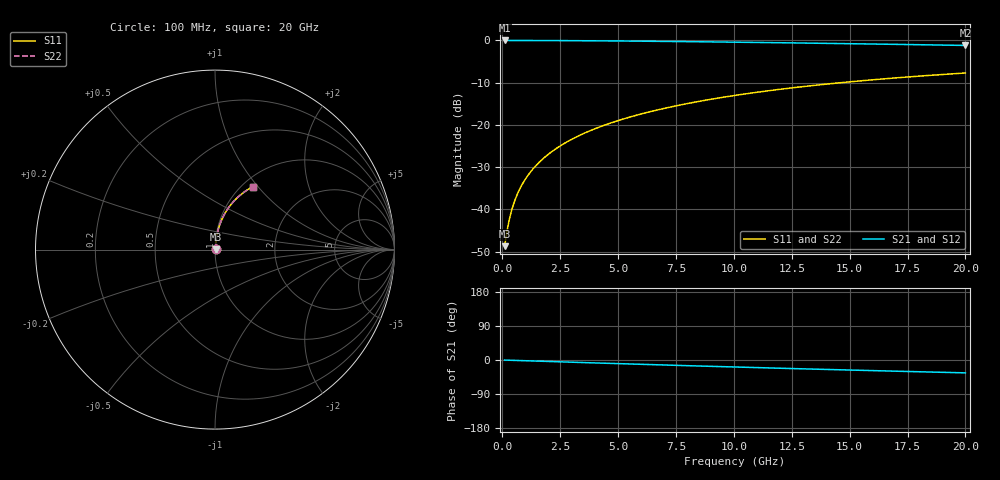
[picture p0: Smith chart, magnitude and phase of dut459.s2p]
! Touchstone file exported from HFSS 2024.1.0
!  File:  C:/UserFiles/LocalFiles/RDL_TSV_Batchsim/temp_RDL_bottom_459_1779685444.aedt
!  Generated:  01:06:43 PM May 25, 2026
!  Design:  RDL_bottom
!  Project:  temp_RDL_bottom_459_1779685444
!  Setup:  Setup1
!  Solution:  Sweep
! Variables:
!  dtsv = 10.80580581um
!  hbump = 3um
!  htsv = 84.58um
!  ldown = 385.59um
!  lrdl = 100um
!  p = 40
!  p1 = 59.35um
!  rhole = 1um
!  t = 450um
!  tdown = 3.69um
!  trdl = 3.915915916um
!  wdown = 13.61um
!  wrdl = 20um
# GHz S MA R 50.000000
! Terminal data exported
! Port[1] = RDL1_T1
! Port[2] = RDL1_T2
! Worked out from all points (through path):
!   200 points, 100 MHz to 20 GHz, reference 50 ohm
!   highest |S21| = -0.02 dB at 100 MHz (marker M1); lowest = -1.2 dB at 20 GHz (marker M2)
!   group delay of S21, straight-line fit = 4.7 ps
!   lowest |S11| = -48.7 dB at 100 MHz (marker M3), VSWR 1.01, Z = 50.3 + j0.234 ohm
!   |S11| at or under -10 dB: start of sweep to 14.65 GHz
!   |S22| runs from -48.7 to -7.7 dB; largest |S21 - S12| = 3.3e-15
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0.1  0.003668 39.3  0.9972 -0.2  0.9972 -0.2  0.003668 39.3
! Gamma 0 0 0 0
! Port Impedance 50 0 50 0
0.2  0.005462 57.9  0.9971 -0.4  0.9971 -0.4  0.005462 57.9
0.3  0.007528 66.7  0.997 -0.6  0.997 -0.6  0.007528 66.7
0.4  0.009676 71.4  0.9969 -0.8  0.9969 -0.8  0.009676 71.4
0.5  0.01185 74.4  0.9968 -1.0  0.9968 -1.0  0.01185 74.4
0.6  0.01404 76.5  0.9967 -1.2  0.9967 -1.2  0.01404 76.5
0.8  0.01844 79.0  0.9965 -1.6  0.9965 -1.6  0.01844 79.0
1.1  0.02508 81.1  0.9961 -2.2  0.9961 -2.2  0.02508 81.1
1.5  0.03398 82.4  0.9954 -2.9  0.9954 -2.9  0.03398 82.4
1.8  0.04067 82.8  0.9949 -3.5  0.9949 -3.5  0.04067 82.8
2.1  0.04737 83.0  0.9942 -4.1  0.9942 -4.1  0.04737 83.0
2.7  0.0608 83.0  0.9926 -5.3  0.9926 -5.3  0.0608 83.0
3.5  0.07873 82.5  0.9899 -6.8  0.9899 -6.8  0.07873 82.5
4.2  0.09441 81.8  0.9871 -8.1  0.9871 -8.1  0.09441 81.8
5  0.1123 80.9  0.9834 -9.6  0.9834 -9.6  0.1123 80.9
5.9  0.1324 79.7  0.9787 -11.2  0.9787 -11.2  0.1324 79.7
6.8  0.1524 78.5  0.9736 -12.9  0.9736 -12.9  0.1524 78.5
8.3  0.1854 76.3  0.9641 -15.5  0.9641 -15.5  0.1854 76.3
10.1  0.2241 73.6  0.9516 -18.6  0.9516 -18.6  0.2241 73.6
13.4  0.2919 68.5  0.9264 -24.0  0.9264 -24.0  0.2919 68.5
16.7  0.3544 63.5  0.8991 -29.1  0.8991 -29.1  0.3544 63.5
20  0.4108 58.8  0.8707 -33.9  0.8707 -33.9  0.4108 58.8
